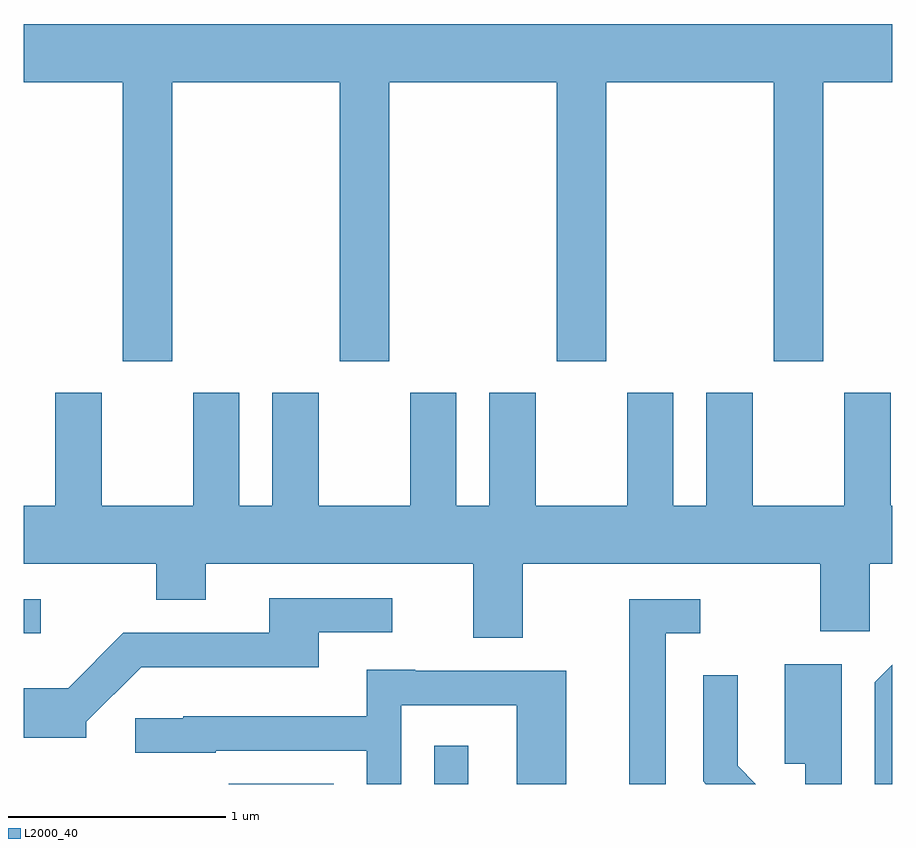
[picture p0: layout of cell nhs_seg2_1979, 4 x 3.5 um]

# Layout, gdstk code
import gdstk
lib = gdstk.Library(unit=1e-6, precision=1e-09)
def R(c, l, rs):  # rectangles x0, y0, x1, y1
    for r in rs: c.add(gdstk.rectangle(r[:2], r[2:], *l))
def P(c, l, *ps):  # polygons
    for p in ps: c.add(gdstk.Polygon(p, *l))
L2000_40 = (2000, 40)

nhs_seg2_1979 = lib.new_cell('nhs_seg2_1979')
R(nhs_seg2_1979, L2000_40, [(244.555,991.802,245.039,991.804), (245.501,991.802,245.659,991.978), (243.611,992.496,243.688,992.654)])
P(nhs_seg2_1979, L2000_40, [(244.294,995.036),(245.066,995.036),(245.066,993.751),(245.294,993.751),(245.294,995.036),(246.066,995.036),(246.066,993.751),(246.294,993.751),(246.294,995.036),(247.066,995.036),(247.066,993.751),(247.294,993.751),(247.294,995.036),(247.611,995.036),(247.611,995.304),(243.611,995.304),(243.611,995.036),(244.066,995.036),(244.066,993.751),(244.294,993.751)],
  [(245.909,992.816),(247.281,992.816),(247.281,992.506),(247.509,992.506),(247.509,992.816),(247.611,992.816),(247.611,993.084),(247.604,993.084),(247.604,993.604),(247.391,993.604),(247.391,993.084),(246.969,993.084),(246.969,993.604),(246.756,993.604),(246.756,993.084),(246.604,993.084),(246.604,993.604),(246.391,993.604),(246.391,993.084),(245.969,993.084),(245.969,993.604),(245.756,993.604),(245.756,993.084),(245.604,993.084),(245.604,993.604),(245.391,993.604),(245.391,993.084),(244.969,993.084),(244.969,993.604),(244.756,993.604),(244.756,993.084),(244.604,993.084),(244.604,993.604),(244.391,993.604),(244.391,993.084),(243.969,993.084),(243.969,993.604),(243.756,993.604),(243.756,993.084),(243.611,993.084),(243.611,992.816),(244.221,992.816),(244.221,992.651),(244.449,992.651),(244.449,992.816),(245.681,992.816),(245.681,992.476),(245.909,992.476)],
  [(243.899,992.089),(244.152,992.341),(244.969,992.341),(244.969,992.501),(245.308,992.501),(245.308,992.659),(244.741,992.659),(244.741,992.499),(244.069,992.499),(243.814,992.244),(243.611,992.244),(243.611,992.016),(243.899,992.016)],
  [(246.569,992.496),(246.728,992.496),(246.728,992.654),(246.401,992.654),(246.401,991.802),(246.569,991.802)],
  [(247.379,992.354),(247.116,992.354),(247.116,991.896),(247.211,991.896),(247.211,991.802),(247.379,991.802)],
  [(247.611,992.352),(247.531,992.272),(247.531,991.802),(247.611,991.802)],
  [(245.349,992.166),(245.881,992.166),(245.881,991.802),(246.109,991.802),(246.109,992.324),(245.415,992.324),(245.415,992.329),(245.191,992.329),(245.191,992.114),(244.345,992.114),(244.345,992.104),(244.123,992.104),(244.123,991.946),(244.495,991.946),(244.495,991.956),(245.191,991.956),(245.191,991.802),(245.349,991.802)],
  [(246.899,991.887),(246.899,992.303),(246.741,992.303),(246.741,991.814),(246.753,991.802),(246.984,991.802)])

lib.write_gds('nhs_seg2_1979.gds')
